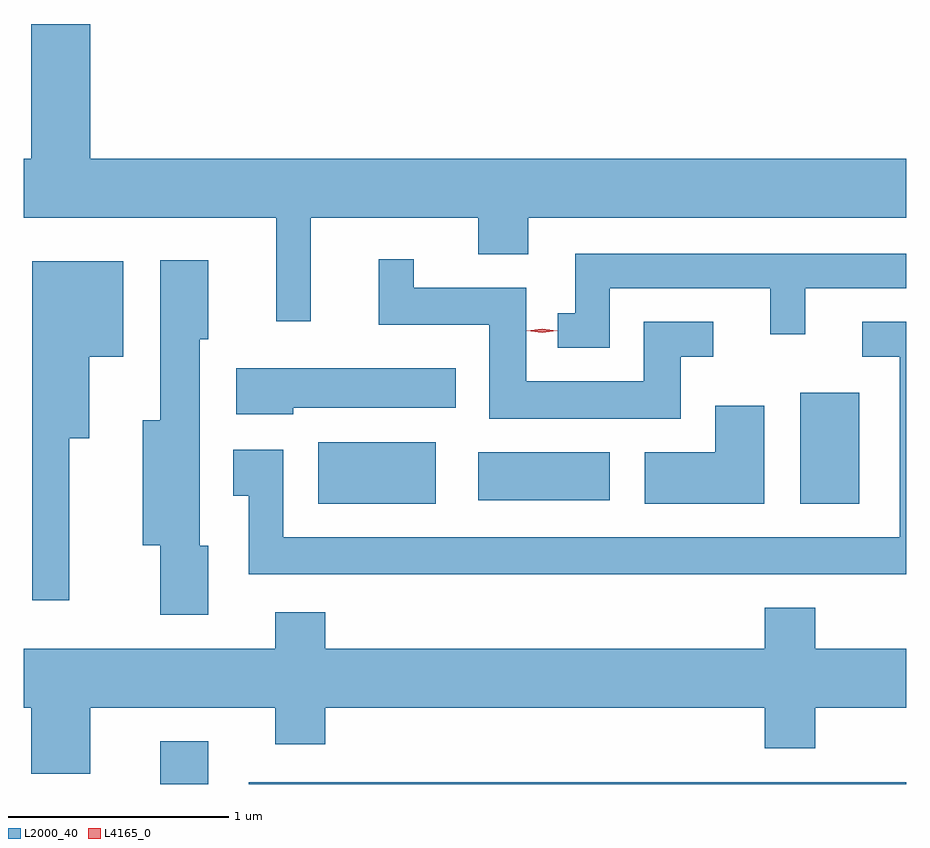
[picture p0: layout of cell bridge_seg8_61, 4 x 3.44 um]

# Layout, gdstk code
import gdstk
lib = gdstk.Library(unit=1e-6, precision=1e-09)
def R(c, l, rs):  # rectangles x0, y0, x1, y1
    for r in rs: c.add(gdstk.rectangle(r[:2], r[2:], *l))
def P(c, l, *ps):  # polygons
    for p in ps: c.add(gdstk.Polygon(p, *l))
L2000_40 = (2000, 40)
L4165_0 = (4165, 0)

bridge_seg8_61 = lib.new_cell('bridge_seg8_61')
R(bridge_seg8_61, L2000_40, [(1474.401,1911.55,1474.619,1911.744), (1474.801,1911.55,1477.782,1911.559), (1475.116,1912.821,1475.649,1913.099), (1477.301,1912.821,1477.569,1913.324), (1475.841,1912.836,1476.439,1913.054)])
P(bridge_seg8_61, L2000_40, [(1475.084,1914.116),(1475.841,1914.116),(1475.841,1913.951),(1476.069,1913.951),(1476.069,1914.116),(1477.782,1914.116),(1477.782,1914.384),(1474.084,1914.384),(1474.084,1914.994),(1473.816,1914.994),(1473.816,1914.384),(1473.782,1914.384),(1473.782,1914.116),(1474.926,1914.116),(1474.926,1913.648),(1475.084,1913.648)],
  [(1476.439,1913.796),(1477.166,1913.796),(1477.166,1913.588),(1477.324,1913.588),(1477.324,1913.796),(1477.782,1913.796),(1477.782,1913.954),(1476.281,1913.954),(1476.281,1913.684),(1476.203,1913.684),(1476.203,1913.526),(1476.439,1913.526)],
  [(1476.759,1913.486),(1476.908,1913.486),(1476.908,1913.644),(1476.591,1913.644),(1476.591,1913.374),(1476.059,1913.374),(1476.059,1913.799),(1475.549,1913.799),(1475.549,1913.928),(1475.391,1913.928),(1475.391,1913.631),(1475.891,1913.631),(1475.891,1913.206),(1476.759,1913.206)],
  [(1474.619,1912.629),(1474.579,1912.629),(1474.579,1913.566),(1474.619,1913.566),(1474.619,1913.924),(1474.401,1913.924),(1474.401,1913.199),(1474.321,1913.199),(1474.321,1912.631),(1474.401,1912.631),(1474.401,1912.316),(1474.619,1912.316)],
  [(1473.989,1913.116),(1474.079,1913.116),(1474.079,1913.486),(1474.234,1913.486),(1474.234,1913.919),(1473.821,1913.919),(1473.821,1912.383),(1473.989,1912.383)],
  [(1477.782,1913.644),(1477.583,1913.644),(1477.583,1913.486),(1477.751,1913.486),(1477.751,1912.669),(1474.959,1912.669),(1474.959,1913.064),(1474.731,1913.064),(1474.731,1912.856),(1474.801,1912.856),(1474.801,1912.501),(1477.782,1912.501)],
  [(1475.004,1913.256),(1475.739,1913.256),(1475.739,1913.434),(1474.746,1913.434),(1474.746,1913.226),(1475.004,1913.226)],
  [(1477.139,1913.264),(1476.916,1913.264),(1476.916,1913.054),(1476.596,1913.054),(1476.596,1912.821),(1477.139,1912.821)],
  [(1474.084,1911.896),(1474.921,1911.896),(1474.921,1911.731),(1475.149,1911.731),(1475.149,1911.896),(1477.141,1911.896),(1477.141,1911.711),(1477.369,1911.711),(1477.369,1911.896),(1477.782,1911.896),(1477.782,1912.164),(1477.369,1912.164),(1477.369,1912.349),(1477.141,1912.349),(1477.141,1912.164),(1475.149,1912.164),(1475.149,1912.329),(1474.921,1912.329),(1474.921,1912.164),(1473.782,1912.164),(1473.782,1911.896),(1473.816,1911.896),(1473.816,1911.596),(1474.084,1911.596)])
P(bridge_seg8_61, L4165_0, [(1476.131,1913.594),(1476.062,1913.603),(1476.062,1913.604),(1476.062,1913.604),(1476.131,1913.614),(1476.201,1913.605),(1476.201,1913.604),(1476.201,1913.604)])

lib.write_gds('bridge_seg8_61.gds')
